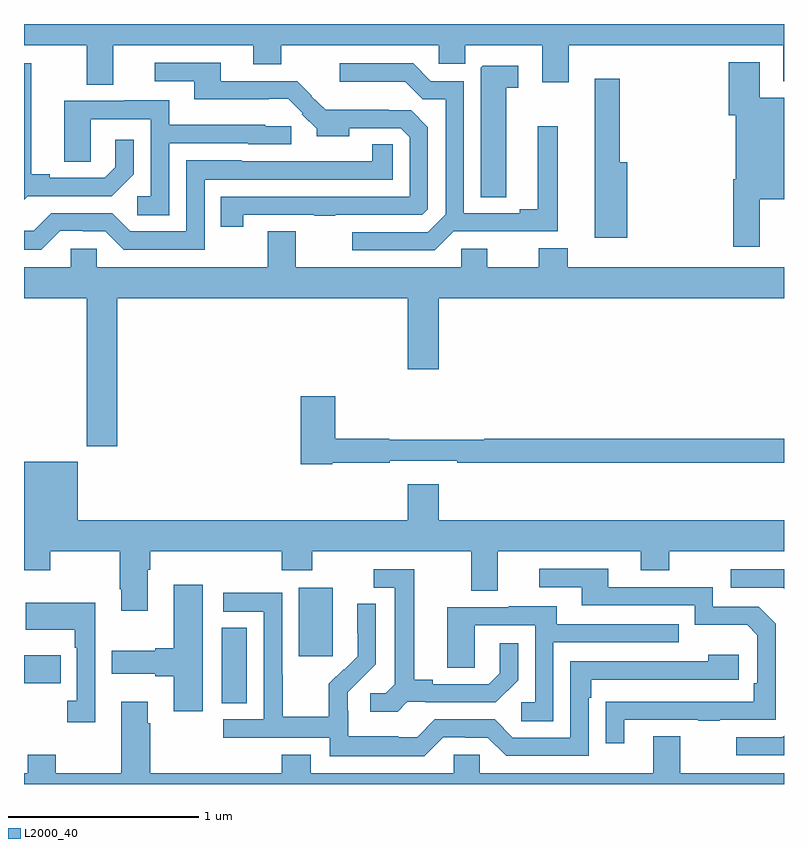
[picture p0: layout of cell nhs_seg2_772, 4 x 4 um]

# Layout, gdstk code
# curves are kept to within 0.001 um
import gdstk
lib = gdstk.Library(unit=1e-6, precision=1e-09)
def R(c, l, rs):  # rectangles x0, y0, x1, y1
    for r in rs: c.add(gdstk.rectangle(r[:2], r[2:], *l))
def P(c, l, *ps):  # polygons
    for p in ps: c.add(gdstk.Polygon(p, *l))
L2000_40 = (2000, 40)

nhs_seg2_772 = lib.new_cell('nhs_seg2_772')
R(nhs_seg2_772, L2000_40, [(152.042,592.225,152.173,592.622), (151,592.33,151.193,592.477), (152.447,592.473,152.626,592.834)])
P(nhs_seg2_772, L2000_40, [(151.471,595.688),(152.207,595.688),(152.207,595.589),(152.355,595.589),(152.355,595.688),(153.183,595.688),(153.183,595.59),(153.322,595.59),(153.322,595.688),(153.728,595.688),(153.728,595.494),(153.868,595.494),(153.868,595.688),(154.997,595.688),(154.997,595.498),(155,595.498),(155,595.8),(151,595.8),(151,595.688),(151.331,595.688),(151.331,595.48),(151.471,595.48)],
  [(154.873,594.878),(155,594.878),(155,595.413),(154.873,595.413),(154.873,595.6),(154.709,595.6),(154.709,595.32),(154.745,595.32),(154.745,594.982),(154.733,594.982),(154.733,594.627),(154.873,594.627)],
  [(152.154,594.795),(152.527,594.795),(152.527,594.79),(152.639,594.79),(152.639,594.795),(153.096,594.795),(153.126,594.825),(153.126,595.257),(153.037,595.346),(152.921,595.346),(152.921,595.348),(152.587,595.348),(152.513,595.421),(152.515,595.423),(152.439,595.5),(152.035,595.5),(152.035,595.596),(151.689,595.596),(151.689,595.5),(151.895,595.5),(151.895,595.403),(152.288,595.403),(152.288,595.406),(152.39,595.406),(152.466,595.329),(152.463,595.326),(152.542,595.248),(152.542,595.208),(152.713,595.208),(152.713,595.251),(152.982,595.251),(153.03,595.203),(153.03,594.891),(152.035,594.891),(152.035,594.732),(152.154,594.732)],
  [(153.262,594.708),(153.808,594.708),(153.808,595.261),(153.704,595.261),(153.704,594.824),(153.608,594.824),(153.608,594.804),(153.315,594.804),(153.315,595.5),(153.141,595.5),(153.048,595.593),(152.661,595.593),(152.661,595.496),(153.007,595.496),(153.098,595.405),(153.219,595.405),(153.219,594.798),(153.126,594.705),(152.727,594.705),(152.727,594.609),(153.163,594.609)],
  [(151.02,594.894),(151.462,594.894),(151.578,595.01),(151.578,595.192),(151.481,595.192),(151.481,595.047),(151.424,594.99),(151.135,594.99),(151.135,595.01),(151.039,595.01),(151.039,595.593),(151,595.593),(151,594.874)],
  [(153.538,595.465),(153.601,595.465),(153.601,595.581),(153.414,595.581),(153.404,595.571),(153.404,594.889),(153.538,594.889)],
  [(154.175,595.072),(154.136,595.072),(154.136,595.513),(154.004,595.513),(154.004,594.674),(154.175,594.674)],
  [(151.764,595.173),(152.181,595.173),(152.181,595.167),(152.406,595.167),(152.406,595.263),(152.271,595.263),(152.271,595.27),(151.765,595.27),(151.765,595.399),(151.529,595.399),(151.529,595.395),(151.211,595.395),(151.211,595.075),(151.35,595.075),(151.35,595.299),(151.668,595.299),(151.668,594.894),(151.596,594.894),(151.596,594.793),(151.764,594.793)],
  [(151.191,594.711),(151.308,594.711),(151.308,594.708),(151.428,594.708),(151.524,594.612),(151.95,594.612),(151.95,594.981),(152.94,594.981),(152.94,595.166),(152.832,595.166),(152.832,595.078),(152.145,595.077),(152.145,595.084),(151.854,595.084),(151.854,594.708),(151.56,594.708),(151.464,594.804),(151.143,594.804),(151.05,594.711),(151,594.711),(151,594.611),(151.091,594.611)],
  [(151.49,594.356),(153.02,594.356),(153.02,593.982),(153.184,593.982),(153.184,594.356),(155,594.356),(155,594.52),(153.863,594.52),(153.863,594.619),(153.71,594.619),(153.71,594.52),(153.439,594.52),(153.439,594.618),(153.3,594.618),(153.3,594.52),(152.431,594.52),(152.431,594.71),(152.284,594.71),(152.284,594.52),(151.383,594.52),(151.383,594.618),(151.245,594.618),(151.245,594.52),(151,594.52),(151,594.356),(151.33,594.356),(151.33,593.577),(151.49,593.577)],
  [(152.622,593.49),(152.924,593.49),(152.924,593.502),(153.28,593.502),(153.28,593.49),(155,593.49),(155,593.618),(153.422,593.618),(153.422,593.611),(152.922,593.611),(152.922,593.618),(152.639,593.618),(152.639,593.842),(152.456,593.842),(152.456,593.482),(152.622,593.482)],
  [(151.651,592.928),(151.664,592.928),(151.664,593.024),(152.357,593.024),(152.357,592.925),(152.517,592.925),(152.517,593.024),(153.353,593.024),(153.353,592.816),(153.493,592.816),(153.493,593.024),(154.247,593.024),(154.247,592.925),(154.395,592.925),(154.395,593.024),(155,593.024),(155,593.188),(153.184,593.188),(153.184,593.377),(153.02,593.377),(153.02,593.188),(151.282,593.188),(151.282,593.497),(151,593.497),(151,592.925),(151.137,592.925),(151.137,593.024),(151.504,593.024),(151.504,592.825),(151.511,592.825),(151.511,592.713),(151.651,592.713)],
  [(154.159,592.137),(154.549,592.137),(154.549,592.132),(154.661,592.132),(154.661,592.137),(154.956,592.137),(154.956,592.644),(154.866,592.734),(154.626,592.734),(154.626,592.836),(154.075,592.836),(154.075,592.932),(153.711,592.932),(153.711,592.836),(153.935,592.836),(153.935,592.74),(154.53,592.74),(154.53,592.637),(154.807,592.637),(154.86,592.584),(154.86,592.33),(154.84,592.33),(154.84,592.233),(154.063,592.232),(154.063,592.014),(154.159,592.014)],
  [(155,592.929),(154.719,592.929),(154.719,592.833),(154.995,592.833),(155,592.828)],
  [(153.018,592.233),(153.112,592.233),(153.112,592.23),(153.484,592.23),(153.6,592.346),(153.6,592.54),(153.503,592.54),(153.503,592.383),(153.446,592.326),(153.151,592.326),(153.151,592.349),(153.055,592.349),(153.055,592.929),(152.841,592.929),(152.841,592.833),(152.951,592.833),(152.951,592.325),(152.904,592.278),(152.823,592.278),(152.823,592.181),(152.966,592.181)],
  [(151.942,592.849),(151.787,592.849),(151.787,592.514),(151.691,592.514),(151.691,592.501),(151.461,592.501),(151.461,592.379),(151.691,592.379),(151.691,592.367),(151.787,592.367),(151.787,592.182),(151.942,592.182)],
  [(153.207,592.047),(153.323,592.047),(153.323,592.044),(153.441,592.044),(153.537,591.948),(153.972,591.948),(153.972,592.253),(153.985,592.253),(153.985,592.35),(154.762,592.35),(154.762,592.48),(154.601,592.48),(154.601,592.446),(153.876,592.446),(153.876,592.044),(153.573,592.044),(153.477,592.14),(153.162,592.14),(153.069,592.047),(152.969,592.047),(152.969,592.051),(152.706,592.051),(152.706,592.185),(152.704,592.185),(152.704,592.282),(152.85,592.43),(152.85,592.748),(152.754,592.748),(152.754,592.594),(152.756,592.594),(152.756,592.472),(152.685,592.401),(152.682,592.404),(152.605,592.327),(152.605,592.153),(152.361,592.153),(152.361,592.376),(152.358,592.376),(152.358,592.806),(152.049,592.806),(152.049,592.707),(152.262,592.707),(152.262,592.14),(152.049,592.14),(152.049,592.044),(152.61,592.044),(152.61,591.947),(153.107,591.947)],
  [(151.374,592.753),(151.009,592.753),(151.009,592.613),(151.266,592.613),(151.266,592.517),(151.278,592.517),(151.278,592.238),(151.227,592.238),(151.227,592.125),(151.374,592.125)],
  [(153.786,592.545),(154.445,592.545),(154.445,592.641),(153.805,592.641),(153.805,592.735),(153.551,592.735),(153.551,592.731),(153.227,592.731),(153.227,592.411),(153.372,592.411),(153.372,592.635),(153.69,592.635),(153.69,592.23),(153.618,592.23),(153.618,592.129),(153.786,592.129)],
  [(155,591.856),(154.453,591.856),(154.453,592.051),(154.313,592.051),(154.313,591.856),(153.399,591.856),(153.399,591.954),(153.261,591.954),(153.261,591.856),(152.509,591.856),(152.509,591.955),(152.357,591.955),(152.357,591.856),(151.664,591.856),(151.664,592.121),(151.651,592.121),(151.651,592.234),(151.511,592.234),(151.511,591.856),(151.167,591.856),(151.167,591.955),(151.019,591.955),(151.019,591.856),(151,591.856),(151,591.8),(155,591.8)],
  [(155,592.055),(154.992,592.047),(154.749,592.047),(154.749,591.951),(155,591.951)])

lib.write_gds('nhs_seg2_772.gds')
